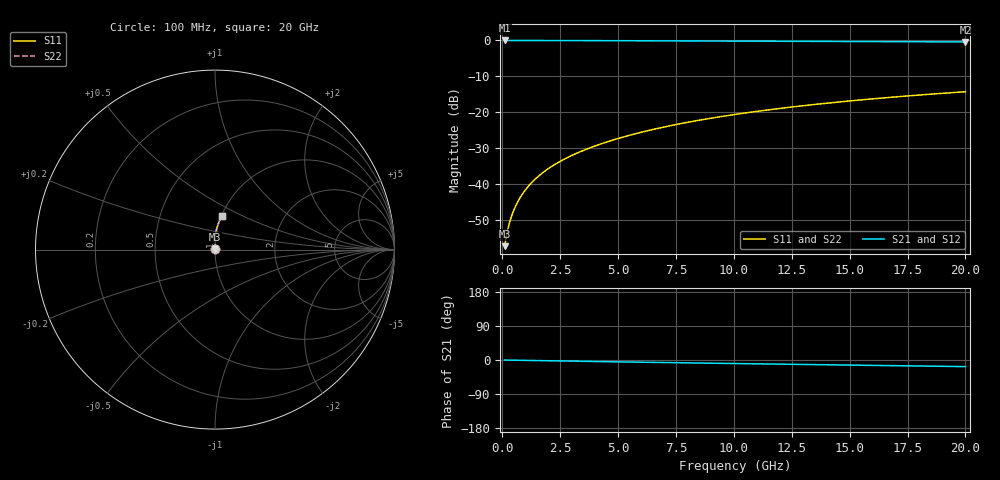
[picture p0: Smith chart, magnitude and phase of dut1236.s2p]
! Touchstone file exported from HFSS 2024.1.0
!  File:  C:/UserFiles/LocalFiles/RDL_TSV_Batchsim/temp_RDL_top_1236_1780240830.aedt
!  Generated:  11:22:40 PM May 31, 2026
!  Design:  RDL_top
!  Project:  temp_RDL_top_1236_1780240830
!  Setup:  Setup1
!  Solution:  Sweep
! Variables:
!  dtsv = 10.80580581um
!  hbump = 3um
!  htsv = 94.07um
!  ldown = 100um
!  lrdl = 201.21um
!  p = 40
!  p1 = 58.44um
!  rhole = 1um
!  t = 450um
!  tdown = 3.915915916um
!  trdl = 3.49um
!  wdown = 15.38538539um
!  wrdl = 25.74um
# GHz S MA R 50.000000
! Terminal data exported
! Port[1] = Box2_T1
! Port[2] = Box2_T2
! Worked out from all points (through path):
!   200 points, 100 MHz to 20 GHz, reference 50 ohm
!   highest |S21| = -0.01 dB at 100 MHz (marker M1); lowest = -0.4 dB at 20 GHz (marker M2)
!   group delay of S21, straight-line fit = 2.4 ps
!   lowest |S11| = -57.3 dB at 100 MHz (marker M3), VSWR 1.00, Z = 50.1 + j0.089 ohm
!   |S11| at or under -10 dB: start of sweep to end of sweep
!   |S22| runs from -57.3 to -14.3 dB; largest |S21 - S12| = 5e-15
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0.1  0.001362 40.7  0.999 -0.1  0.999 -0.1  0.001362 40.7
! Gamma 0 0 0 0
! Port Impedance 50 0 50 0
0.2  0.002053 58.2  0.9989 -0.2  0.9989 -0.2  0.002053 58.2
0.3  0.002807 66.3  0.9988 -0.3  0.9988 -0.3  0.002807 66.3
0.4  0.003574 71.1  0.9988 -0.4  0.9988 -0.4  0.003574 71.1
0.5  0.004346 74.3  0.9987 -0.5  0.9987 -0.5  0.004346 74.3
0.6  0.005125 76.6  0.9986 -0.6  0.9986 -0.6  0.005125 76.6
0.8  0.006699 79.9  0.9985 -0.8  0.9985 -0.8  0.006699 79.9
1.1  0.009094 82.8  0.9983 -1.1  0.9983 -1.1  0.009094 82.8
1.5  0.01234 85.2  0.9979 -1.5  0.9979 -1.5  0.01234 85.2
1.8  0.01481 86.4  0.9976 -1.8  0.9976 -1.8  0.01481 86.4
2.1  0.01731 87.2  0.9972 -2.1  0.9972 -2.1  0.01731 87.2
2.7  0.02239 88.5  0.9962 -2.7  0.9962 -2.7  0.02239 88.5
3.5  0.02937 89.5  0.9947 -3.5  0.9947 -3.5  0.02937 89.5
4.2  0.03566 89.9  0.9932 -4.2  0.9932 -4.2  0.03566 89.9
5  0.04306 90.2  0.9913 -4.9  0.9913 -4.9  0.04306 90.2
5.9  0.05162 90.1  0.989 -5.8  0.989 -5.8  0.05162 90.1
6.8  0.06039 89.8  0.9867 -6.6  0.9867 -6.6  0.06039 89.8
8.4  0.07636 88.9  0.9825 -8.0  0.9825 -8.0  0.07636 88.9
10.1  0.09364 87.6  0.9781 -9.4  0.9781 -9.4  0.09364 87.6
13.4  0.1274 84.5  0.9698 -12.2  0.9698 -12.2  0.1274 84.5
16.7  0.1606 81.3  0.9616 -14.8  0.9616 -14.8  0.1606 81.3
20  0.193 78.1  0.9533 -17.5  0.9533 -17.5  0.193 78.1
